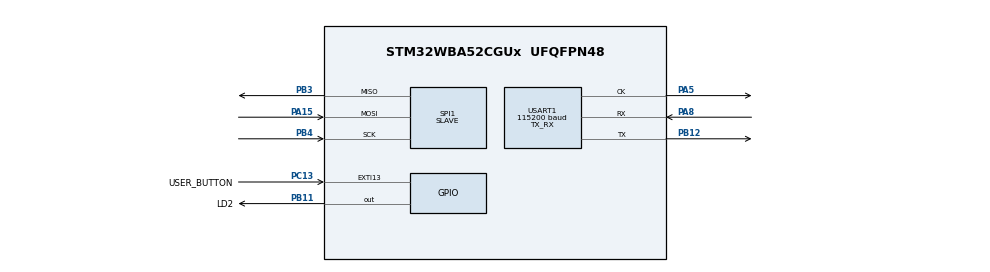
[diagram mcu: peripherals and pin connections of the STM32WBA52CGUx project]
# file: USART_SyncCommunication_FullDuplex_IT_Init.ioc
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CORTEX_M33_NS.userName=CORTEX_M33
GPDMA1.DESTINC_GPDMACH2=DMA_DINC_INCREMENTED
GPDMA1.DIRECTION_GPDMACH1=DMA_MEMORY_TO_PERIPH
GPDMA1.IPHANDLE_GPDMACH1-SIMPLEREQUEST_GPDMACH1=__NULL
GPDMA1.IPHANDLE_GPDMACH2-SIMPLEREQUEST_GPDMACH2=__NULL
GPDMA1.PRIORITY_GPDMACH1=DMA_LOW_PRIORITY_HIGH_WEIGHT
GPDMA1.PRIORITY_GPDMACH2=DMA_LOW_PRIORITY_HIGH_WEIGHT
GPDMA1.REQUEST_GPDMACH1=GPDMA1_REQUEST_SPI1_TX
GPDMA1.REQUEST_GPDMACH2=GPDMA1_REQUEST_SPI1_RX
GPDMA1.SRCINC_GPDMACH1=DMA_SINC_INCREMENTED
Mcu.Family=STM32WBA
Mcu.Name=STM32WBA52CGUx
Mcu.Package=UFQFPN48
NVIC.EXTI13_IRQn=true\:0\:0\:false\:false\:true\:true\:true\:true
NVIC.GPDMA1_Channel1_IRQn=true\:0\:0\:false\:false\:true\:false\:true\:true
NVIC.GPDMA1_Channel2_IRQn=true\:0\:0\:false\:false\:true\:false\:true\:true
NVIC.PriorityGroup=NVIC_PRIORITYGROUP_4
NVIC.USART1_IRQn=true\:0\:0\:false\:false\:true\:true\:true\:true
OSC_IN.Mode=HSE-External-Oscillator
OSC_IN.Signal=RCC_OSC_IN
OSC_OUT.Mode=HSE-External-Oscillator
OSC_OUT.Signal=RCC_OSC_OUT
PA15\ (JTDI).GPIO_PuPd=GPIO_PULLDOWN
PA15\ (JTDI).GPIO_Speed=GPIO_SPEED_FREQ_HIGH
PA15\ (JTDI).Mode=Full_Duplex_Slave
PA15\ (JTDI).Signal=SPI1_MOSI
PA5.GPIO_PuPd=GPIO_PULLDOWN
PA5.GPIO_Speed=GPIO_SPEED_FREQ_HIGH
PA5.Mode=Synchronous
PA5.Signal=USART1_CK
PA8.GPIO_PuPd=GPIO_PULLDOWN
PA8.GPIO_Speed=GPIO_SPEED_FREQ_HIGH
PA8.Mode=Synchronous
PA8.Signal=USART1_RX
PB11.GPIO_Label=LD2
PB11.PinState=GPIO_PIN_SET
PB11.Signal=GPIO_Output
PB12.GPIO_PuPd=GPIO_PULLDOWN
PB12.GPIO_Speed=GPIO_SPEED_FREQ_HIGH
PB12.Mode=Synchronous
PB12.Signal=USART1_TX
PB3\ (JTDO/TRACESWO).GPIO_PuPd=GPIO_PULLDOWN
PB3\ (JTDO/TRACESWO).GPIO_Speed=GPIO_SPEED_FREQ_HIGH
PB3\ (JTDO/TRACESWO).Mode=Full_Duplex_Slave
PB3\ (JTDO/TRACESWO).Signal=SPI1_MISO
PB4\ (NJTRST).GPIO_PuPd=GPIO_PULLDOWN
PB4\ (NJTRST).GPIO_Speed=GPIO_SPEED_FREQ_HIGH
PB4\ (NJTRST).Mode=Full_Duplex_Slave
PB4\ (NJTRST).Signal=SPI1_SCK
PC13.GPIO_Label=USER_BUTTON
PC13.GPIO_ModeDefaultEXTI=GPIO_MODE_IT_FALLING
PC13.GPIO_PuPd=GPIO_PULLUP
PC13.Signal=GPXTI13
ProjectManager.HeapSize=0x200
ProjectManager.StackSize=0x400
ProjectManager.TargetToolchain=EWARM V9.20
RCC.ADCFreq_Value=100000000
RCC.AHB5CLKDivider=DIV4
RCC.AHBFreq_Value=100000000
RCC.APB1Freq_Value=100000000
RCC.APB1TimFreq_Value=100000000
RCC.APB2Freq_Value=100000000
RCC.APB2TimFreq_Value=100000000
RCC.CortexFreq_Value=12500000
RCC.HCLKFreq_Value=100000000
RCC.HSE_VALUE=32000000
RCC.HSI_VALUE=16000000
RCC.LSE_VALUE=32768
RCC.PLLFRACN=0
RCC.PLLM=4
RCC.PLLN=25
RCC.PLLSourceVirtual=RCC_PLLSOURCE_HSE
RCC.SYSCLKFreq_VALUE=100000000
RCC.SYSCLKSourceVirtual=RCC_SYSCLKSOURCE_PLLCLK
RCC.VCOOutputFreq_Value=200000000
SPI1.CLKPhase=SPI_PHASE_2EDGE
SPI1.CLKPolarity=SPI_POLARITY_LOW
SPI1.CRCCalculation=SPI_CRCCALCULATION_DISABLE
SPI1.DataSize=SPI_DATASIZE_8BIT
SPI1.Direction=SPI_DIRECTION_2LINES
SPI1.FirstBit=SPI_FIRSTBIT_LSB
SPI1.Mode=SPI_MODE_SLAVE
SPI1.NSS=SPI_NSS_SOFT
SPI1.TIMode=SPI_TIMODE_DISABLE
SPI1.VirtualType=VM_SLAVE
USART1.BaudRate=115200
USART1.CLKLastBit=USART_LASTBIT_ENABLE
USART1.CLKPhase=USART_PHASE_2EDGE
USART1.CLKPolarity=USART_POLARITY_LOW
USART1.ClockPrescaler=PRESCALER_DIV1
USART1.FIFOMode=FIFOMODE_DISABLE
USART1.Mode=MODE_TX_RX
USART1.Parity=PARITY_NONE
USART1.RXFIFOThreshold=RXFIFO_THRESHOLD_1QUARTERFULL
USART1.SlaveMode=USART_SLAVEMODE_DISABLE
USART1.StopBits=STOPBITS_1
USART1.TXFIFOThreshold=TXFIFO_THRESHOLD_1QUARTERFULL
USART1.VirtualMode-Synchronous=VM_SYNC
USART1.WordLength=WORDLENGTH_8B
VP_GPDMA1_VS_GPDMACH1.Mode=SIMPLEREQUEST_GPDMACH1
VP_GPDMA1_VS_GPDMACH2.Mode=SIMPLEREQUEST_GPDMACH2
VP_ICACHE_VS_ICACHE.Mode=DirectMappedCache
VP_PWR_VS_SECSignals.Mode=Security/Privilege
board=custom

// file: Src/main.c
/* USER CODE BEGIN Header */
/**
  ******************************************************************************
  * @file    Examples_LL/USART/USART_SyncCommunication_FullDuplex_IT_Init/Src/main.c
  * @author  MCD Application Team
  * @brief   This example describes how to transfer bytes from/to an USART peripheral
  *          to/from an SPI peripheral (in slave mode) using IT mode
  *          through the STM32WBAxx USART LL API.
  *          Peripheral initialization done using LL unitary services functions.
  ******************************************************************************
  * @attention
  *
  * Copyright (c) 2022 STMicroelectronics.
  * All rights reserved.
  *
  * This software is licensed under terms that can be found in the LICENSE file
  * in the root directory of this software component.
  * If no LICENSE file comes with this software, it is provided AS-IS.
  *
  ******************************************************************************
  */
/* USER CODE END Header */
#include "main.h"

/* USER CODE BEGIN Includes */
/** @addtogroup STM32WBAxx_LL_Examples
  * @{
  */

/** @addtogroup USART_SyncCommunication_FullDuplex_IT_Init
  * @{
  */

/* USER CODE END Includes */

/* USER CODE BEGIN PV */
__IO uint8_t ubButtonPress = 0;
__IO uint8_t ubSend = 0;
__IO uint8_t ubReceive = 0;

/* Buffer used for transmission */
uint8_t aUSART1TxBuffer[] = "**** USART_SyncCommunication_FullDuplex_IT_Init USART1 to SPI1 communication ****";
uint8_t ubUSART1NbDataToTransmit = sizeof(aUSART1TxBuffer);
__IO uint8_t ubUSART1TransmissionComplete = 0;
uint8_t aSPI1TxBuffer[] = "**** USART_SyncCommunication_FullDuplex_IT_Init SPI1 to USART1 communication ****";
uint8_t ubSPI1NbDataToTransmit = sizeof(aSPI1TxBuffer);
__IO uint8_t ubSPI1TransmissionComplete = 0;

/* Buffer used for reception */
uint8_t aUSART1RxBuffer[sizeof(aSPI1TxBuffer)];
uint8_t ubUSART1NbDataToReceive = sizeof(aSPI1TxBuffer);
__IO uint8_t ubUSART1ReceptionComplete = 0;
uint8_t aSPI1RxBuffer[sizeof(aUSART1TxBuffer)];
uint8_t ubSPI1NbDataToReceive = sizeof(aUSART1TxBuffer);
__IO uint8_t ubSPI1ReceptionComplete = 0;

/* USER CODE END PV */

void SystemClock_Config(void);
static void MX_GPIO_Init(void);
static void MX_GPDMA1_Init(void);
static void MX_ICACHE_Init(void);
static void MX_USART1_Init(void);
static void MX_SPI1_Init(void);
/* USER CODE BEGIN PFP */

void     Activate_SPI1(void);
void     StartTransfers(void);
void     LED_On(void);
void     LED_Blinking(uint32_t Period);
void     LED_Off(void);
void     WaitForUserButtonPress(void);
void     WaitAndCheckEndOfTransfer(void);
uint8_t  Buffercmp8(uint8_t *pBuffer1, uint8_t *pBuffer2, uint8_t BufferLength);
/* USER CODE END PFP */

int main(void)
{

  /* MCU Configuration--------------------------------------------------------*/

  /* Reset of all peripherals, Initializes the Flash interface and the Systick. */

  /* System interrupt init*/
  NVIC_SetPriorityGrouping(NVIC_PRIORITYGROUP_4);

  /* Enable PWR clock interface */

  LL_AHB4_GRP1_EnableClock(LL_AHB4_GRP1_PERIPH_PWR);

  /* Configure the system clock */
  SystemClock_Config();

  /* Initialize all configured peripherals */
  MX_GPIO_Init();
  MX_GPDMA1_Init();
  MX_ICACHE_Init();
  MX_USART1_Init();
  MX_SPI1_Init();
  /* USER CODE BEGIN 2 */

  /* Enable the SPI1 peripheral */
  Activate_SPI1();

  /* Wait for USER push-button press to start transfer */
  WaitForUserButtonPress();

  /* Initiate DMA transfers */
  StartTransfers();

  /* Wait for the end of the transfer and check received data */
  WaitAndCheckEndOfTransfer();
  /* USER CODE END 2 */

  /* Infinite loop */
  while (1)
  {

  }
}

void SystemClock_Config(void)
{
  LL_FLASH_SetLatency(LL_FLASH_LATENCY_3);
  while(LL_FLASH_GetLatency()!= LL_FLASH_LATENCY_3)
  {
  }

  LL_PWR_SetRegulVoltageScaling(LL_PWR_REGU_VOLTAGE_SCALE1);
  LL_RCC_HSE_Enable();

   /* Wait till HSE is ready */
  while(LL_RCC_HSE_IsReady() != 1)
  {
  }

  LL_RCC_PLL1_ConfigDomain_SYS(LL_RCC_PLL1SOURCE_HSE, 4, 25, 2);
  LL_RCC_PLL1_EnableDomain_PLL1R();
  LL_RCC_PLL1_SetVCOInputRange(LL_RCC_PLLINPUTRANGE_8_16);
  LL_RCC_PLL1_Enable();

   /* Wait till PLL is ready */
  while(LL_RCC_PLL1_IsReady() != 1)
  {
  }

  LL_RCC_SetSysClkSource(LL_RCC_SYS_CLKSOURCE_PLL1R);

   /* Wait till System clock is ready */
  while(LL_RCC_GetSysClkSource() != LL_RCC_SYS_CLKSOURCE_STATUS_PLL1R)
  {
  }

  LL_RCC_SetAHBPrescaler(LL_RCC_SYSCLK_DIV_1);
  LL_RCC_SetAHB5Prescaler(LL_RCC_AHB5_DIV_4);
  LL_RCC_SetAPB1Prescaler(LL_RCC_APB1_DIV_1);
  LL_RCC_SetAPB2Prescaler(LL_RCC_APB2_DIV_1);
  LL_RCC_SetAPB7Prescaler(LL_RCC_APB7_DIV_1);

  LL_Init1msTick(100000000);

  LL_SetSystemCoreClock(100000000);
}

static void MX_GPDMA1_Init(void)
{

  /* Peripheral clock enable */
  LL_AHB1_GRP1_EnableClock(LL_AHB1_GRP1_PERIPH_GPDMA1);

  /* GPDMA1 interrupt Init */
  NVIC_SetPriority(GPDMA1_Channel1_IRQn, NVIC_EncodePriority(NVIC_GetPriorityGrouping(),0, 0));
  NVIC_EnableIRQ(GPDMA1_Channel1_IRQn);
  NVIC_SetPriority(GPDMA1_Channel2_IRQn, NVIC_EncodePriority(NVIC_GetPriorityGrouping(),0, 0));
  NVIC_EnableIRQ(GPDMA1_Channel2_IRQn);

}

static void MX_ICACHE_Init(void)
{

  /** Enable instruction cache in 1-way (direct mapped cache)
  */
  LL_ICACHE_SetMode(LL_ICACHE_1WAY);
  LL_ICACHE_Enable();

}

static void MX_SPI1_Init(void)
{

  LL_SPI_InitTypeDef SPI_InitStruct = {0};

  LL_GPIO_InitTypeDef GPIO_InitStruct = {0};
  LL_DMA_InitTypeDef DMA_InitStruct = {0};

  LL_RCC_SetSPIClockSource(LL_RCC_SPI1_CLKSOURCE_PCLK2);

  /* Peripheral clock enable */
  LL_APB2_GRP1_EnableClock(LL_APB2_GRP1_PERIPH_SPI1);

  LL_AHB2_GRP1_EnableClock(LL_AHB2_GRP1_PERIPH_GPIOB);
  LL_AHB2_GRP1_EnableClock(LL_AHB2_GRP1_PERIPH_GPIOA);
  /**SPI1 GPIO Configuration
  PB4 (NJTRST)   ------> SPI1_SCK
  PB3 (JTDO/TRACESWO)   ------> SPI1_MISO
  PA15 (JTDI)   ------> SPI1_MOSI
  */
  GPIO_InitStruct.Pin = LL_GPIO_PIN_4|LL_GPIO_PIN_3;
  GPIO_InitStruct.Mode = LL_GPIO_MODE_ALTERNATE;
  GPIO_InitStruct.Speed = LL_GPIO_SPEED_FREQ_HIGH;
  GPIO_InitStruct.OutputType = LL_GPIO_OUTPUT_PUSHPULL;
  GPIO_InitStruct.Pull = LL_GPIO_PULL_DOWN;
  GPIO_InitStruct.Alternate = LL_GPIO_AF_5;
  LL_GPIO_Init(GPIOB, &GPIO_InitStruct);

  GPIO_InitStruct.Pin = LL_GPIO_PIN_15;
  GPIO_InitStruct.Mode = LL_GPIO_MODE_ALTERNATE;
  GPIO_InitStruct.Speed = LL_GPIO_SPEED_FREQ_HIGH;
  GPIO_InitStruct.OutputType = LL_GPIO_OUTPUT_PUSHPULL;
  GPIO_InitStruct.Pull = LL_GPIO_PULL_DOWN;
  GPIO_InitStruct.Alternate = LL_GPIO_AF_5;
  LL_GPIO_Init(GPIOA, &GPIO_InitStruct);

  /* SPI1 DMA Init */

  /* GPDMA1_REQUEST_SPI1_RX Init */
  DMA_InitStruct.SrcAddress = 0x00000000U;
  DMA_InitStruct.DestAddress = 0x00000000U;
  DMA_InitStruct.Direction = LL_DMA_DIRECTION_PERIPH_TO_MEMORY;
  DMA_InitStruct.BlkHWRequest = LL_DMA_HWREQUEST_SINGLEBURST;
  DMA_InitStruct.DataAlignment = LL_DMA_DATA_ALIGN_ZEROPADD;
  DMA_InitStruct.SrcBurstLength = 1;
  DMA_InitStruct.DestBurstLength = 1;
  DMA_InitStruct.SrcDataWidth = LL_DMA_SRC_DATAWIDTH_BYTE;
  DMA_InitStruct.DestDataWidth = LL_DMA_DEST_DATAWIDTH_BYTE;
  DMA_InitStruct.SrcIncMode = LL_DMA_SRC_FIXED;
  DMA_InitStruct.DestIncMode = LL_DMA_DEST_INCREMENT;
  DMA_InitStruct.Priority = LL_DMA_LOW_PRIORITY_HIGH_WEIGHT;
  DMA_InitStruct.BlkDataLength = 0x00000000U;
  DMA_InitStruct.TriggerMode = LL_DMA_TRIGM_BLK_TRANSFER;
  DMA_InitStruct.TriggerPolarity = LL_DMA_TRIG_POLARITY_MASKED;
  DMA_InitStruct.TriggerSelection = 0x00000000U;
  DMA_InitStruct.Request = LL_GPDMA1_REQUEST_SPI1_RX;
  DMA_InitStruct.TransferEventMode = LL_DMA_TCEM_BLK_TRANSFER;
  DMA_InitStruct.SrcAllocatedPort = LL_DMA_SRC_ALLOCATED_PORT0;
  DMA_InitStruct.DestAllocatedPort = LL_DMA_DEST_ALLOCATED_PORT0;
  DMA_InitStruct.LinkAllocatedPort = LL_DMA_LINK_ALLOCATED_PORT1;
  DMA_InitStruct.LinkStepMode = LL_DMA_LSM_FULL_EXECUTION;
  DMA_InitStruct.LinkedListBaseAddr = 0x00000000U;
  DMA_InitStruct.LinkedListAddrOffset = 0x00000000U;
  LL_DMA_Init(GPDMA1, LL_DMA_CHANNEL_2, &DMA_InitStruct);

  /* GPDMA1_REQUEST_SPI1_TX Init */
  DMA_InitStruct.SrcAddress = 0x00000000U;
  DMA_InitStruct.DestAddress = 0x00000000U;
  DMA_InitStruct.Direction = LL_DMA_DIRECTION_MEMORY_TO_PERIPH;
  DMA_InitStruct.BlkHWRequest = LL_DMA_HWREQUEST_SINGLEBURST;
  DMA_InitStruct.DataAlignment = LL_DMA_DATA_ALIGN_ZEROPADD;
  DMA_InitStruct.SrcBurstLength = 1;
  DMA_InitStruct.DestBurstLength = 1;
  DMA_InitStruct.SrcDataWidth = LL_DMA_SRC_DATAWIDTH_BYTE;
  DMA_InitStruct.DestDataWidth = LL_DMA_DEST_DATAWIDTH_BYTE;
  DMA_InitStruct.SrcIncMode = LL_DMA_SRC_INCREMENT;
  DMA_InitStruct.DestIncMode = LL_DMA_DEST_FIXED;
  DMA_InitStruct.Priority = LL_DMA_LOW_PRIORITY_HIGH_WEIGHT;
  DMA_InitStruct.BlkDataLength = 0x00000000U;
  DMA_InitStruct.TriggerMode = LL_DMA_TRIGM_BLK_TRANSFER;
  DMA_InitStruct.TriggerPolarity = LL_DMA_TRIG_POLARITY_MASKED;
  DMA_InitStruct.TriggerSelection = 0x00000000U;
  DMA_InitStruct.Request = LL_GPDMA1_REQUEST_SPI1_TX;
  DMA_InitStruct.TransferEventMode = LL_DMA_TCEM_BLK_TRANSFER;
  DMA_InitStruct.SrcAllocatedPort = LL_DMA_SRC_ALLOCATED_PORT0;
  DMA_InitStruct.DestAllocatedPort = LL_DMA_DEST_ALLOCATED_PORT0;
  DMA_InitStruct.LinkAllocatedPort = LL_DMA_LINK_ALLOCATED_PORT1;
  DMA_InitStruct.LinkStepMode = LL_DMA_LSM_FULL_EXECUTION;
  DMA_InitStruct.LinkedListBaseAddr = 0x00000000U;
  DMA_InitStruct.LinkedListAddrOffset = 0x00000000U;
  LL_DMA_Init(GPDMA1, LL_DMA_CHANNEL_1, &DMA_InitStruct);

  /* USER CODE BEGIN SPI1_Init 1 */

  LL_DMA_ConfigAddresses(GPDMA1, LL_DMA_CHANNEL_1,
                         (uint32_t)aSPI1TxBuffer,
                         (uint32_t)&(SPI1->TXDR));
  LL_DMA_SetBlkDataLength(GPDMA1, LL_DMA_CHANNEL_1, ubSPI1NbDataToTransmit);
  LL_DMA_SetPeriphRequest(GPDMA1, LL_DMA_CHANNEL_1, LL_GPDMA1_REQUEST_SPI1_TX);

  LL_DMA_ConfigAddresses(GPDMA1, LL_DMA_CHANNEL_2,
                         (uint32_t)&(SPI1->RXDR),
                         (uint32_t)aSPI1RxBuffer);
  LL_DMA_SetBlkDataLength(GPDMA1, LL_DMA_CHANNEL_2, ubSPI1NbDataToReceive);
  LL_DMA_SetPeriphRequest(GPDMA1, LL_DMA_CHANNEL_2, LL_GPDMA1_REQUEST_SPI1_RX);

  LL_DMA_EnableIT_TC(GPDMA1, LL_DMA_CHANNEL_1);
  LL_DMA_EnableIT_DTE(GPDMA1, LL_DMA_CHANNEL_1);
  LL_DMA_EnableIT_TC(GPDMA1, LL_DMA_CHANNEL_2);
  LL_DMA_EnableIT_DTE(GPDMA1, LL_DMA_CHANNEL_2);
  /* USER CODE END SPI1_Init 1 */
  /* SPI1 parameter configuration*/
  SPI_InitStruct.TransferDirection = LL_SPI_FULL_DUPLEX;
  SPI_InitStruct.Mode = LL_SPI_MODE_SLAVE;
  SPI_InitStruct.DataWidth = LL_SPI_DATAWIDTH_8BIT;
  SPI_InitStruct.ClockPolarity = LL_SPI_POLARITY_LOW;
  SPI_InitStruct.ClockPhase = LL_SPI_PHASE_2EDGE;
  SPI_InitStruct.NSS = LL_SPI_NSS_SOFT;
  SPI_InitStruct.BitOrder = LL_SPI_LSB_FIRST;
  SPI_InitStruct.CRCCalculation = LL_SPI_CRCCALCULATION_DISABLE;
  SPI_InitStruct.CRCPoly = 0x7;
  LL_SPI_Init(SPI1, &SPI_InitStruct);
  LL_SPI_SetStandard(SPI1, LL_SPI_PROTOCOL_MOTOROLA);
  LL_SPI_DisableNSSPulseMgt(SPI1);
  /* USER CODE BEGIN SPI1_Init 2 */
  LL_SPI_SetFIFOThreshold(SPI1, LL_SPI_FIFO_TH_01DATA);

  /* Configure SPI1 DMA transfer interrupts */
  /* Enable DMA TX Interrupt */
  LL_SPI_EnableDMAReq_TX(SPI1);
  /* Enable DMA RX Interrupt */
  LL_SPI_EnableDMAReq_RX(SPI1);
  /* USER CODE END SPI1_Init 2 */

}

static void MX_USART1_Init(void)
{

  LL_USART_InitTypeDef USART_InitStruct = {0};
  LL_USART_ClockInitTypeDef USART_ClockInitStruct = {0};

  LL_GPIO_InitTypeDef GPIO_InitStruct = {0};

  LL_RCC_SetUSARTClockSource(LL_RCC_USART1_CLKSOURCE_PCLK2);

  /* Peripheral clock enable */
  LL_APB2_GRP1_EnableClock(LL_APB2_GRP1_PERIPH_USART1);

  LL_AHB2_GRP1_EnableClock(LL_AHB2_GRP1_PERIPH_GPIOB);
  LL_AHB2_GRP1_EnableClock(LL_AHB2_GRP1_PERIPH_GPIOA);
  /**USART1 GPIO Configuration
  PB12   ------> USART1_TX
  PA8   ------> USART1_RX
  PA5   ------> USART1_CK
  */
  GPIO_InitStruct.Pin = LL_GPIO_PIN_12;
  GPIO_InitStruct.Mode = LL_GPIO_MODE_ALTERNATE;
  GPIO_InitStruct.Speed = LL_GPIO_SPEED_FREQ_HIGH;
  GPIO_InitStruct.OutputType = LL_GPIO_OUTPUT_PUSHPULL;
  GPIO_InitStruct.Pull = LL_GPIO_PULL_DOWN;
  GPIO_InitStruct.Alternate = LL_GPIO_AF_7;
  LL_GPIO_Init(GPIOB, &GPIO_InitStruct);

  GPIO_InitStruct.Pin = LL_GPIO_PIN_8|LL_GPIO_PIN_5;
  GPIO_InitStruct.Mode = LL_GPIO_MODE_ALTERNATE;
  GPIO_InitStruct.Speed = LL_GPIO_SPEED_FREQ_HIGH;
  GPIO_InitStruct.OutputType = LL_GPIO_OUTPUT_PUSHPULL;
  GPIO_InitStruct.Pull = LL_GPIO_PULL_DOWN;
  GPIO_InitStruct.Alternate = LL_GPIO_AF_7;
  LL_GPIO_Init(GPIOA, &GPIO_InitStruct);

  /* USART1 interrupt Init */
  NVIC_SetPriority(USART1_IRQn, NVIC_EncodePriority(NVIC_GetPriorityGrouping(),0, 0));
  NVIC_EnableIRQ(USART1_IRQn);

  USART_InitStruct.PrescalerValue = LL_USART_PRESCALER_DIV1;
  USART_InitStruct.BaudRate = 115200;
  USART_InitStruct.DataWidth = LL_USART_DATAWIDTH_8B;
  USART_InitStruct.StopBits = LL_USART_STOPBITS_1;
  USART_InitStruct.Parity = LL_USART_PARITY_NONE;
  USART_InitStruct.TransferDirection = LL_USART_DIRECTION_TX_RX;
  USART_InitStruct.OverSampling = LL_USART_OVERSAMPLING_8;

  LL_USART_Init(USART1, &USART_InitStruct);
  LL_USART_SetTXFIFOThreshold(USART1, LL_USART_FIFOTHRESHOLD_1_4);
  LL_USART_SetRXFIFOThreshold(USART1, LL_USART_FIFOTHRESHOLD_1_4);
  USART_ClockInitStruct.ClockOutput = LL_USART_CLOCK_ENABLE;
  USART_ClockInitStruct.ClockPolarity = LL_USART_POLARITY_LOW;
  USART_ClockInitStruct.ClockPhase = LL_USART_PHASE_2EDGE;
  USART_ClockInitStruct.LastBitClockPulse = LL_USART_LASTCLKPULSE_OUTPUT;
  LL_USART_ClockInit(USART1, &USART_ClockInitStruct);
  LL_USART_DisableFIFO(USART1);
  LL_USART_ConfigSyncMode(USART1);
  LL_USART_Enable(USART1);
  /* USER CODE BEGIN USART1_Init 2 */

  /* Polling USART initialisation */
  while ((!(LL_USART_IsActiveFlag_TEACK(USART1))) || (!(LL_USART_IsActiveFlag_REACK(USART1))))
  {
  }

  /* Enable USART1 RX Interrupt */
  LL_USART_EnableIT_RXNE(USART1);

  /* Enable USART1 ERROR Interrupt */
  LL_USART_EnableIT_ERROR(USART1);
  /* USER CODE END USART1_Init 2 */

}

static void MX_GPIO_Init(void)
{
  LL_EXTI_InitTypeDef EXTI_InitStruct = {0};
  LL_GPIO_InitTypeDef GPIO_InitStruct = {0};

  /* GPIO Ports Clock Enable */
  LL_AHB2_GRP1_EnableClock(LL_AHB2_GRP1_PERIPH_GPIOB);
  LL_AHB2_GRP1_EnableClock(LL_AHB2_GRP1_PERIPH_GPIOA);
  LL_AHB2_GRP1_EnableClock(LL_AHB2_GRP1_PERIPH_GPIOC);

  /**/
  LL_GPIO_SetOutputPin(LD2_GPIO_Port, LD2_Pin);

  /**/
  GPIO_InitStruct.Pin = LD2_Pin;
  GPIO_InitStruct.Mode = LL_GPIO_MODE_OUTPUT;
  GPIO_InitStruct.Speed = LL_GPIO_SPEED_FREQ_LOW;
  GPIO_InitStruct.OutputType = LL_GPIO_OUTPUT_PUSHPULL;
  GPIO_InitStruct.Pull = LL_GPIO_PULL_NO;
  LL_GPIO_Init(LD2_GPIO_Port, &GPIO_InitStruct);

  /**/
  LL_EXTI_SetEXTISource(LL_EXTI_CONFIG_PORTC, LL_EXTI_CONFIG_LINE13);

  /**/
  EXTI_InitStruct.Line_0_31 = LL_EXTI_LINE_13;
  EXTI_InitStruct.LineCommand = ENABLE;
  EXTI_InitStruct.Mode = LL_EXTI_MODE_IT;
  EXTI_InitStruct.Trigger = LL_EXTI_TRIGGER_FALLING;
  LL_EXTI_Init(&EXTI_InitStruct);

  /**/
  LL_GPIO_SetPinPull(USER_BUTTON_GPIO_Port, USER_BUTTON_Pin, LL_GPIO_PULL_UP);

  /**/
  LL_GPIO_SetPinMode(USER_BUTTON_GPIO_Port, USER_BUTTON_Pin, LL_GPIO_MODE_INPUT);

  /* EXTI interrupt init*/
  NVIC_SetPriority(EXTI13_IRQn, NVIC_EncodePriority(NVIC_GetPriorityGrouping(),0, 0));
  NVIC_EnableIRQ(EXTI13_IRQn);

}

/* USER CODE BEGIN 4 */

/**
  * @brief  This function Activate SPI1
  * @param  None
  * @retval None
  */
void Activate_SPI1(void)
{
  /* Enable SPI1 */
  LL_SPI_Enable(SPI1);

  /* Enable DMA Channels Tx and Rx */
  LL_DMA_EnableChannel(GPDMA1, LL_DMA_CHANNEL_1);
  LL_DMA_EnableChannel(GPDMA1, LL_DMA_CHANNEL_2);
}

/**
  * @brief  This function initiates TX and RX DMA transfers by enabling DMA channels
  * @param  None
  * @retval None
  */
void StartTransfers(void)
{
  /* Start USART transmission : Will initiate TXE interrupt after TDR register is empty */
  LL_USART_TransmitData8(USART1, aUSART1TxBuffer[ubSend++]);

  /* Enable TXE interrupt */
  LL_USART_EnableIT_TXE(USART1);
}

/**
  * @brief  Turn-on LD2.
  * @param  None
  * @retval None
  */
void LED_On(void)
{
  /* Turn LD2 on */
  LL_GPIO_SetOutputPin(LD2_GPIO_Port, LD2_Pin);
}

/**
  * @brief  Turn-off LD2.
  * @param  None
  * @retval None
  */
void LED_Off(void)
{
  /* Turn LD2 off */
  LL_GPIO_ResetOutputPin(LD2_GPIO_Port, LD2_Pin);
}

/**
  * @brief  Set LD2 to Blinking mode for an infinite loop (toggle period based on value provided as input parameter).
  * @param  Period : Period of time (in ms) between each toggling of LED
  *   This parameter can be user defined values. Pre-defined values used in that example are :
  *     @arg LED_BLINK_FAST : Fast Blinking
  *     @arg LED_BLINK_SLOW : Slow Blinking
  *     @arg LED_BLINK_ERROR : Error specific Blinking
  * @retval None
  */
void LED_Blinking(uint32_t Period)
{
  /* Toggle LD2 in an infinite loop */
  while (1)
  {
    LL_GPIO_TogglePin(LD2_GPIO_Port, LD2_Pin);
    LL_mDelay(Period);
  }
}

/**
  * @brief  Wait for USER push-button press to start transfer.
  * @param  None
  * @retval None
  */
/*  */
void WaitForUserButtonPress(void)
{
  while (ubButtonPress == 0)
  {
    LL_GPIO_TogglePin(LD2_GPIO_Port, LD2_Pin);
    LL_mDelay(LED_BLINK_FAST);
  }
  /* Ensure that LD2 is turned Off */
  LED_Off();
}

/**
  * @brief  Wait end of transfer and check if received Data are well.
  * @param  None
  * @retval None
  */
void WaitAndCheckEndOfTransfer(void)
{
  /* 1 - Wait end of transmission from USART1 */
  while (ubUSART1TransmissionComplete != 1)
  {
  }
  /* Disable TC interrupt */
  LL_USART_DisableIT_TC(USART1);

  /* 2 - Wait end of transmission from SPI1 */
  while (ubSPI1TransmissionComplete != 1)
  {
  }
  /* Disable GPDMA1 Tx Channel */
  LL_DMA_DisableChannel(GPDMA1, LL_DMA_CHANNEL_1);

  /* 3 - Wait end of reception from USART1 */
  while (ubUSART1ReceptionComplete != 1)
  {
  }
  /* Disable RXNE interrupt */
  LL_USART_DisableIT_RXNE(USART1);

  /* 4 - Wait end of reception from SPI1 */
  while (ubSPI1ReceptionComplete != 1)
  {
  }
  /* Disable GPDMA1 Rx Channel */
  LL_DMA_DisableChannel(GPDMA1, LL_DMA_CHANNEL_2);

  /* 5 - Compare received data to transmitted one (USART1 => SPI1) */
  if (Buffercmp8((uint8_t *)aUSART1TxBuffer, (uint8_t *)aSPI1RxBuffer, ubUSART1NbDataToTransmit))
  {
    /* Processing Error */
    LED_Blinking(LED_BLINK_ERROR);
  }
  /* 6 - Compare received data to transmitted one (SPI1 => USART1) */
  else if (Buffercmp8((uint8_t *)aSPI1TxBuffer, (uint8_t *)aUSART1RxBuffer, ubSPI1NbDataToTransmit))
  {
    /* Processing Error */
    LED_Blinking(LED_BLINK_ERROR);
  }
  else
  {
    /* Turn On Led if data are well received */
    LED_On();
  }
}

/**
* @brief Compares two 8-bit buffers and returns the comparison result.
* @param pBuffer1: pointer to the source buffer to be compared to.
* @param pBuffer2: pointer to the second source buffer to be compared to the first.
* @param BufferLength: buffer's length.
* @retval   0: Comparison is OK (the two Buffers are identical)
*           Value different from 0: Comparison is NOK (Buffers are different)
*/
uint8_t Buffercmp8(uint8_t *pBuffer1, uint8_t *pBuffer2, uint8_t BufferLength)
{
  while (BufferLength--)
  {
    if (*pBuffer1 != *pBuffer2)
    {
      return 1;
    }

    pBuffer1++;
    pBuffer2++;
  }

  return 0;
}

/******************************************************************************/
/*   USER IRQ HANDLER TREATMENT Functions                                     */
/******************************************************************************/
/**
  * @brief  Function to manage USER push-button
  * @param  None
  * @retval None
  */
void UserButton_Callback(void)
{
  /* Update USER push-button variable : to be checked in waiting loop in main program */
  ubButtonPress = 1;
}

/**
  * @brief  Function called for achieving next TX Byte sending
  * @param  None
  * @retval None
  */
void USART_TXEmpty_Callback(void)
{
  if (ubSend == (ubUSART1NbDataToTransmit - 1))
  {
    /* Disable TXE interrupt */
    LL_USART_DisableIT_TXE(USART1);

    /* Enable TC interrupt */
    LL_USART_EnableIT_TC(USART1);
  }

  /* Fill TDR with a new char */
  LL_USART_TransmitData8(USART1, aUSART1TxBuffer[ubSend++]);
}

/**
  * @brief  Function called at completion of last byte transmission
  * @param  None
  * @retval None
  */
void USART_CharTransmitComplete_Callback(void)
{
  if (ubSend == ubUSART1NbDataToTransmit)
  {
    /* Disable TC interrupt */
    LL_USART_DisableIT_TC(USART1);

    /* Set USART1 End of transmission flag */
    ubUSART1TransmissionComplete = 1;
  }
}

/**
  * @brief  Function called from USART IRQ Handler when RXNE flag is set
  *         Function is in charge of reading character received on USART RX line.
  * @param  None
  * @retval None
  */
void USART_CharReception_Callback(void)
{
  /* Read Received character. RXNE flag is cleared by reading of RDR register */
  aUSART1RxBuffer[ubReceive++] = LL_USART_ReceiveData8(USART1);

  if (ubReceive == ubUSART1NbDataToReceive)
  {
    /* Set USART1 End of Reception flag */
    ubUSART1ReceptionComplete = 1;
  }
}

/**
  * @brief  Function called from GPDMA1 IRQ Handler when Tx transfer is completed (SPI1)
  * @param  None
  * @retval None
  */
void SPI1_GPDMA1_TransmitComplete_Callback(void)
{
  /* DMA Tx transfer completed */
  ubSPI1TransmissionComplete = 1;
}

/**
  * @brief  Function called from GPDMA1 IRQ Handler when Rx transfer is completed (SPI1)
  * @param  None
  * @retval None
  */
void SPI1_GPDMA1_ReceiveComplete_Callback(void)
{
  /* DMA Rx transfer completed */
  ubSPI1ReceptionComplete = 1;
}

/**
  * @brief  Function called in case of error detected in USART IT Handler
  * @param  None
  * @retval None
  */
void USART_TransferError_Callback(void)
{
  /* Disable USART1_IRQn */
  NVIC_DisableIRQ(USART1_IRQn);

  /* Set LD2 to Blinking mode to indicate error occurs */
  LED_Blinking(LED_BLINK_ERROR);
}

/**
  * @brief  Function called in case of error detected in SPI IT Handler
  * @param  None
  * @retval None
  */
void SPI_TransferError_Callback(void)
{
  /* Disable GPDMA1 Tx Channel */
  LL_DMA_DisableChannel(GPDMA1, LL_DMA_CHANNEL_1);

  /* Disable GPDMA1 Rx Channel */
  LL_DMA_DisableChannel(GPDMA1, LL_DMA_CHANNEL_2);

  /* Set LD2 to Blinking mode to indicate error occurs */
  LED_Blinking(LED_BLINK_ERROR);
}

/* USER CODE END 4 */

void Error_Handler(void)
{
}
